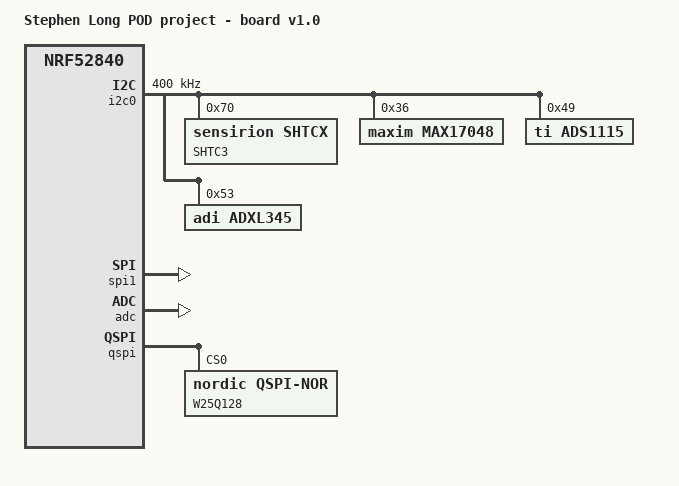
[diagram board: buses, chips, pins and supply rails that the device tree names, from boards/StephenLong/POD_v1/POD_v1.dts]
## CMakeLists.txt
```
# SPDX-License-Identifier: Apache-2.0

cmake_minimum_required(VERSION 3.20.0)

find_package(Zephyr REQUIRED HINTS $ENV{ZEPHYR_BASE})
project(POD_v1.0)
target_include_directories(app PRIVATE src)

# # # Include application application event headers
# # zephyr_library_include_directories(src/events)
# zephyr_syscall_include_directories(${CMAKE_CURRENT_SOURCE_DIR}/include/drivers/ADE9000)
# zephyr_include_directories(${CMAKE_CURRENT_SOURCE_DIR}/drivers)
zephyr_include_directories(${CMAKE_CURRENT_SOURCE_DIR}/include)

# list(APPEND ZEPHYR_EXTRA_MODULES
#   ${CMAKE_CURRENT_SOURCE_DIR}/drivers
# )

FILE(GLOB app_sources src/*.c)
target_sources(app PRIVATE ${app_sources})

add_subdirectory(src/App)
add_subdirectory(src/SHTC6)
add_subdirectory(src/MAX17048)
add_subdirectory(src/ADS1115)
add_subdirectory(src/ADXL345)
add_subdirectory(src/ADE9000)
add_subdirectory(src/AFE3010)
add_subdirectory(src/W25Q128)
# add_subdirectory(libs)

# add_subdirectory(drivers)


# set(DTC_EXTRA_BINDINGS_DIRS ${CMAKE_CURRENT_SOURCE_DIR}/dts/bindings)
# set(DTC_EXTRA_FLAGS "-I${CMAKE_CURRENT_SOURCE_DIR}/dts/bindings")
```

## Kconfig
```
# Copyright (c) 2021 Nordic Semiconductor ASA
# SPDX-License-Identifier: Apache-2.0
#
# This Kconfig file is picked by the Zephyr build system because it is defined
# as the module Kconfig entry point (see zephyr/module.yml). You can browse
# module options by going to Zephyr -> Modules in Kconfig.

menu "Zephyr"
source "Kconfig.zephyr"
endmenu

# rsource "drivers/Kconfig"
```

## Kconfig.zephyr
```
# Copyright (c) 2021 Nordic Semiconductor ASA
# SPDX-License-Identifier: Apache-2.0
#
# This Kconfig file is picked by the Zephyr build system because it is defined
# as the module Kconfig entry point (see zephyr/module.yml). You can browse
# module options by going to Zephyr -> Modules in Kconfig.

menu "Zephyr"
source "Kconfig.zephyr"
endmenu

rsource "drivers/Kconfig"
```

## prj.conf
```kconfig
# Enable logging
CONFIG_LOG=y

# Use SEGGER RTT as the console output
CONFIG_USE_SEGGER_RTT=y
CONFIG_CONSOLE=y
CONFIG_RTT_CONSOLE=y
CONFIG_PRINTK=y
# # Disable UART console to avoid conflict
# CONFIG_UART_CONSOLE=n

# Optional (recommended)
CONFIG_LOG_BACKEND_RTT=y
CONFIG_LOG_BACKEND_RTT_MODE_DROP=n

CONFIG_CBPRINTF_FP_SUPPORT=y

# I2C sensors
CONFIG_I2C=y
CONFIG_GPIO=y
CONFIG_SENSOR=y
CONFIG_SHTCX=y
CONFIG_FUEL_GAUGE=y
CONFIG_ADC=y
CONFIG_ADC_ADS1X1X=y
CONFIG_ADXL345=y
CONFIG_SENSOR_ASYNC_API=y

# SPI sensors
CONFIG_SPI=y
# CONFIG_NRFX_SPIM1=y          # Use SPIM1 for DMA capability
# CONFIG_NRFX_SPIM=y           # Required for nrfx SPI backend (DMA)
# CONFIG_DMA=y                 # Optional but recommended
# CONFIG_ADE9000=y             # driver model not implemented

# QSPI nor-flash
CONFIG_FLASH=y
CONFIG_NORDIC_QSPI_NOR=y
# CONFIG_PM_DEVICE=y
# CONFIG_NORDIC_QSPI_NOR_FLASH_LAYOUT_PAGE_SIZE=4096

CONFIG_SYSTEM_WORKQUEUE_STACK_SIZE=2048

CONFIG_BT_SETTINGS=y
CONFIG_FLASH=y
CONFIG_FLASH_MAP=y
CONFIG_NVS=y
CONFIG_SETTINGS=y
# CONFIG_SECURE_STORAGE=y
CONFIG_HWINFO=y

CONFIG_BT=y
CONFIG_BT_L2CAP_TX_BUF_COUNT=5
CONFIG_BT_PERIPHERAL=y
CONFIG_BT_OBSERVER=y
CONFIG_BT_BROADCASTER=y

CONFIG_BT_CTLR_DUP_FILTER_LEN=0
CONFIG_BT_CTLR_LE_ENC=n
CONFIG_BT_CTLR_LE_PING=n
CONFIG_BT_DATA_LEN_UPDATE=n
CONFIG_BT_PHY_UPDATE=n
CONFIG_BT_CTLR_MIN_USED_CHAN=n
CONFIG_BT_CTLR_PRIVACY=n
CONFIG_BT_CTLR_CHAN_SEL_2=n

CONFIG_BT_MESH=y
CONFIG_BT_MESH_MODEL_EXTENSIONS=y
CONFIG_BT_MESH_RELAY=y
CONFIG_BT_MESH_FRIEND=y
CONFIG_BT_MESH_PB_GATT=y
CONFIG_BT_MESH_PB_ADV=y
CONFIG_BT_MESH_GATT_PROXY=y

CONFIG_BT_MESH_SUBNET_COUNT=2
CONFIG_BT_MESH_APP_KEY_COUNT=2
CONFIG_BT_MESH_MODEL_GROUP_COUNT=2
CONFIG_BT_MESH_LABEL_COUNT=3
```

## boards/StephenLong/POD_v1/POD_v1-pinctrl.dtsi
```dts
&pinctrl {
	i2c0_default: i2c0_default {
		group1 {
			psels = <NRF_PSEL(TWIM_SDA, 0, 26)>, <NRF_PSEL(TWIM_SCL, 0, 27)>;
		};
	};
	spi1_default: spi1_default {
		group1 {
			psels = <NRF_PSEL(SPIM_SCK, 0, 5)>,
					<NRF_PSEL(SPIM_MOSI, 0, 6)>,
					<NRF_PSEL(SPIM_MISO, 0, 7)>;
		};
	};
	qspi_default: qspi_default {
		group1 {
			psels = <NRF_PSEL(QSPI_CSN, 0, 17)>,
					<NRF_PSEL(QSPI_SCK, 0, 19)>,
					<NRF_PSEL(QSPI_IO0, 0, 20)>,
					<NRF_PSEL(QSPI_IO1, 0, 21)>,
					<NRF_PSEL(QSPI_IO2, 0, 22)>,
					<NRF_PSEL(QSPI_IO3, 0, 23)>;
		};
	};
};
```

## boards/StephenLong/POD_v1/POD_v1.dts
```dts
/dts-v1/;
#include <nordic/nrf52840_qiaa.dtsi>
#include "POD_v1-pinctrl.dtsi"

/ {
	model = "Stephen Long POD project - board v1.0";
	compatible = "StephenLong,POD-v1";

	chosen {
		zephyr,sram = &sram0;
		zephyr,flash = &flash0;
		zephyr,code-partition = &slot0_partition;
	};

	// ade9000_cs: ade9000_cs {
    //     compatible = "gpio-controller";
	// 	gpios = <&gpio0 4 GPIO_ACTIVE_LOW>;
	// 	status = "okay";
	// 	gpio-controller;
	// 	#gpio-cells = <1>;
    // };
};

&flash0 {
	partitions {
		compatible = "fixed-partitions";
		#address-cells = <1>;
		#size-cells = <1>;

		boot_partition: partition@0 {
			label = "mcuboot";
			reg = <0x00000000 DT_SIZE_K(48)>;
		};

		slot0_partition: partition@c000 {
			label = "image-0";
			reg = <0x0000c000 DT_SIZE_K(472)>;
		};

		slot1_partition: partition@82000 {
			label = "image-1";
			reg = <0x00082000 DT_SIZE_K(472)>;
		};

		storage_partition: partition@f8000 {
			label = "storage";
			reg = <0x000f8000 DT_SIZE_K(32)>;
		};
	};
};
&usbd {
	status = "disabled";
};

&gpiote {
	status = "okay";
};

&systick {
	status = "disabled";
};

&i2c0 {
	status = "okay";
	compatible = "nordic,nrf-twim";
	pinctrl-0 = <&i2c0_default>;
	pinctrl-names = "default";
	clock-frequency = <I2C_BITRATE_FAST>;
	label = "I2C_0";
	shtc3@70 {
		compatible = "sensirion,shtcx";
		reg = <0x70>;
		measure-mode = "normal";
		clock-stretching;
		label = "SHTC3";
        status = "okay";
	};

	max17048:max17048@36 {
		compatible = "maxim,max17048";
		reg = <0x36>;
		label = "MAX17048";
        status = "okay";
	};

	ads1115:ads1115@49 {
		compatible = "ti,ads1115";
		reg = <0x49>;
		#io-channel-cells = <0x1>;
		label = "ADS1115";
		status = "okay";
		// channel@0 {
		// 	reg = <0>;
		// 	zephyr,gain = "ADC_GAIN_1";
		// 	zephyr,reference = "ADC_REF_INTERNAL";
		// 	zephyr,acquisition-time = <ADC_ACQ_TIME_DEFAULT>;
		// 	zephyr,resolution = < 15 >;
		// };
		// channel@1 {
		// 	reg = <1>;
		// 	zephyr,gain = "ADC_GAIN_1";
		// 	zephyr,reference = "ADC_REF_INTERNAL";
		// 	zephyr,acquisition-time = <ADC_ACQ_TIME_DEFAULT>;
		// 	zephyr,resolution = < 15 >;
		// };
		// channel@2 {
		// 	reg = <2>;
		// 	zephyr,gain = "ADC_GAIN_1";
		// 	zephyr,reference = "ADC_REF_INTERNAL";
		// 	zephyr,acquisition-time = <ADC_ACQ_TIME_DEFAULT>;
		// 	zephyr,resolution = < 15 >;
		// };
		// channel@3 {
		// 	reg = <3>;
		// 	zephyr,gain = "ADC_GAIN_1";
		// 	zephyr,reference = "ADC_REF_INTERNAL";
		// 	zephyr,acquisition-time = <ADC_ACQ_TIME_DEFAULT>;
		// 	zephyr,resolution = < 15 >;
		// };
	};

	adxl345: adxl345@53 {
		compatible = "adi,adxl345";
		reg = <0x53>;
		// int2-gpios = <&gpio1 9 0>;
		// supply-gpios = <&gpio1 11 0>;
	};
};

&spi1 {
	status = "okay";
	compatible = "nordic,nrf-spim";
	pinctrl-0 = <&spi1_default>;
	pinctrl-names = "default";
	// cs-gpios = <&gpio0 4 GPIO_ACTIVE_LOW>;
	// max-frequency = <DT_FREQ_M(20)>;
	// ade9000: ade9000@0 {
    //     // compatible = "adi,ade9000";
    //     reg = <0>;
    //     spi-max-frequency = <DT_FREQ_M(20)>;
	// 	cs-gpios = <&gpio0 4 GPIO_ACTIVE_LOW>;
	// 	status = "okay";
    // };
};


&adc {
	status = "okay";
};

&gpio0 {
	label = "GPIO_0";
	status = "okay";
};

&gpio1 {
	label = "GPIO_1";
	status = "okay";
};

&qspi {
	status = "okay";
	pinctrl-0 = <&qspi_default>;
	pinctrl-names = "default";

	w25q128@0 {
		compatible = "nordic,qspi-nor";
        reg = <0>;
        label = "W25Q128";
        writeoc = "pp4io";
        readoc = "read4io";
		jedec-id = [ef 40 18]; /* Winbond W25Q128JV */
        sck-frequency = <DT_FREQ_M(32)>; /* Up to 32MHz, use safe value for stability */

        /* Required memory configuration */
        size = <0x800000>;   /* 8MB (64Mbit) */
        // address-cells = <1>;
        // erase-block-size = <4096>; /* 4KB sector */
        page-size = <256>;

        /* Power-down options (optional) */
        has-dpd;
        t-enter-dpd = <10000>;
        t-exit-dpd = <35000>;
	};
};

// &qspi {
//     status = "okay";
//     pinctrl-0 = <&qspi_default>;
//     pinctrl-names = "default";

//     qspi_flash: qspi@0 {
//         compatible = "jedec,spi-nor";
//         reg = <0>;
//         label = "W25Q128";
//         jedec-id = [ef 40 18]; /* Winbond W25Q128JV */
//         size = <0x800000>;     /* 8 MB = 64 Mbit = 0x800000 bytes */
//         has-dpd;
//         t-enter-dpd = <10000>;
//         t-exit-dpd = <35000>;
//         // qspi-max-frequency = <8000000>; /* 8 MHz, or up to 32 MHz */
// 		spi-max-frequency = <DT_FREQ_M(32)>;
//     };
// };
```

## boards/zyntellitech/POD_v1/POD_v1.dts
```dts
/dts-v1/;
#include <nordic/nrf52840_qiaa.dtsi>
#include "POD_v1-pinctrl.dtsi"

/ {
	model = "POD project - board v1.0";
	compatible = "zyntellitech,POD-v1";

	chosen {
		zephyr,sram = &sram0;
		zephyr,flash = &flash0;
		zephyr,code-partition = &slot0_partition;
	};

	// ade9000_cs: ade9000_cs {
    //     compatible = "gpio-controller";
	// 	gpios = <&gpio0 4 GPIO_ACTIVE_LOW>;
	// 	status = "okay";
	// 	gpio-controller;
	// 	#gpio-cells = <1>;
    // };
};

&flash0 {
	partitions {
		compatible = "fixed-partitions";
		#address-cells = <1>;
		#size-cells = <1>;

		boot_partition: partition@0 {
			label = "mcuboot";
			reg = <0x00000000 DT_SIZE_K(48)>;
		};

		slot0_partition: partition@c000 {
			label = "image-0";
			reg = <0x0000c000 DT_SIZE_K(472)>;
		};

		slot1_partition: partition@82000 {
			label = "image-1";
			reg = <0x00082000 DT_SIZE_K(472)>;
		};

		storage_partition: partition@f8000 {
			label = "storage";
			reg = <0x000f8000 DT_SIZE_K(32)>;
		};
	};
};
&usbd {
	status = "disabled";
};

&gpiote {
	status = "okay";
};

&systick {
	status = "disabled";
};

&i2c0 {
	status = "okay";
	compatible = "nordic,nrf-twim";
	pinctrl-0 = <&i2c0_default>;
	pinctrl-names = "default";
	clock-frequency = <I2C_BITRATE_FAST>;
	label = "I2C_0";
	shtc3@70 {
		compatible = "sensirion,shtcx";
		reg = <0x70>;
		measure-mode = "normal";
		clock-stretching;
		label = "SHTC3";
        status = "okay";
	};

	max17048:max17048@36 {
		compatible = "maxim,max17048";
		reg = <0x36>;
		label = "MAX17048";
        status = "okay";
	};

	ads1115:ads1115@49 {
		compatible = "ti,ads1115";
		reg = <0x49>;
		#io-channel-cells = <0x1>;
		label = "ADS1115";
		status = "okay";
		// channel@0 {
		// 	reg = <0>;
		// 	zephyr,gain = "ADC_GAIN_1";
		// 	zephyr,reference = "ADC_REF_INTERNAL";
		// 	zephyr,acquisition-time = <ADC_ACQ_TIME_DEFAULT>;
		// 	zephyr,resolution = < 15 >;
		// };
		// channel@1 {
		// 	reg = <1>;
		// 	zephyr,gain = "ADC_GAIN_1";
		// 	zephyr,reference = "ADC_REF_INTERNAL";
		// 	zephyr,acquisition-time = <ADC_ACQ_TIME_DEFAULT>;
		// 	zephyr,resolution = < 15 >;
		// };
		// channel@2 {
		// 	reg = <2>;
		// 	zephyr,gain = "ADC_GAIN_1";
		// 	zephyr,reference = "ADC_REF_INTERNAL";
		// 	zephyr,acquisition-time = <ADC_ACQ_TIME_DEFAULT>;
		// 	zephyr,resolution = < 15 >;
		// };
		// channel@3 {
		// 	reg = <3>;
		// 	zephyr,gain = "ADC_GAIN_1";
		// 	zephyr,reference = "ADC_REF_INTERNAL";
		// 	zephyr,acquisition-time = <ADC_ACQ_TIME_DEFAULT>;
		// 	zephyr,resolution = < 15 >;
		// };
	};

	adxl345: adxl345@53 {
		compatible = "adi,adxl345";
		reg = <0x53>;
		// int2-gpios = <&gpio1 9 0>;
		// supply-gpios = <&gpio1 11 0>;
	};
};

&spi1 {
	status = "okay";
	compatible = "nordic,nrf-spim";
	pinctrl-0 = <&spi1_default>;
	pinctrl-names = "default";
	// cs-gpios = <&gpio0 4 GPIO_ACTIVE_LOW>;
	// max-frequency = <DT_FREQ_M(20)>;
	// ade9000: ade9000@0 {
    //     // compatible = "adi,ade9000";
    //     reg = <0>;
    //     spi-max-frequency = <DT_FREQ_M(20)>;
	// 	cs-gpios = <&gpio0 4 GPIO_ACTIVE_LOW>;
	// 	status = "okay";
    // };
};

&adc {
	status = "okay";
};

&gpio0 {
	label = "GPIO_0";
	status = "okay";
};

&gpio1 {
	label = "GPIO_1";
	status = "okay";
};
```

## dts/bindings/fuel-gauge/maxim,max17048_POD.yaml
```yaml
# Copyright (c) 2023 Alvaro Garcia Gomez <maxpowel@gmail.com>
# SPDX-License-Identifier: Apache-2.0

description: |
  Maxim MAX17048 Fuel Gauge with ModelGauge. See more info at:
  https://www.maximintegrated.com/en/products/power/battery-management/MAX17048.html

compatible: "maxim,max17048_POD"

include: ["maxim,max17048.yaml"]

properties:
  irq-gpios:
    type: phandle-array
    required: false
    description: GPIO line used for interrupt from the fuel gauge chip
```

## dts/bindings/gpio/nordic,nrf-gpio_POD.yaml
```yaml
# Copyright (c) 2018, marc-cpdesign
# SPDX-License-Identifier: Apache-2.0

description: NRF5 GPIO node

compatible: "nordic,nrf-gpio_POD"

include: [gpio-controller.yaml, base.yaml]

properties:
  reg:
    required: true

  gpiote-instance:
    type: phandle
    description: |
      GPIOTE instance that can be used with this GPIO port.

  "#gpio-cells":
    const: 2

  sense-edge-mask:
    type: int
    description: |
      Mask of pins that use the GPIO sense mechanism for edge detection.
      Pins not included in the mask use GPIOTE channels in the event mode.

  port:
    type: int
    required: true
    description: |
      The GPIO port number. GPIO port P0 has:

        port = <0>;

      And P1 has:

        port = <1>;

  interrupt-controller:
    type: boolean
    description: GPIO block also acts as an interrupt controller

  "#interrupt-cells":
    type: int
    const: 2
    description: Number of cells to define an interrupt from this controller


gpio-cells:
  - pin
  - flags
```

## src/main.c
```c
/* main.c - Application main entry point */

/*
 * Copyright (c) 2017 Intel Corporation
 *
 * SPDX-License-Identifier: Apache-2.0
 */

#include <zephyr/sys/printk.h>

#include <zephyr/settings/settings.h>
#include <zephyr/devicetree.h>
#include <zephyr/device.h>
#include <zephyr/drivers/hwinfo.h>
#include <zephyr/drivers/sensor.h>
#include <zephyr/drivers/fuel_gauge.h>
#include <zephyr/drivers/gpio.h>
#include <zephyr/drivers/i2c.h>
#include <zephyr/sys/byteorder.h>

#include <zephyr/bluetooth/bluetooth.h>
#include <zephyr/bluetooth/mesh.h>

#include <defines.h>
#include "App.h"

#define OP_ONOFF_GET       BT_MESH_MODEL_OP_2(0x82, 0x01)
#define OP_ONOFF_SET       BT_MESH_MODEL_OP_2(0x82, 0x02)
#define OP_ONOFF_SET_UNACK BT_MESH_MODEL_OP_2(0x82, 0x03)
#define OP_ONOFF_STATUS    BT_MESH_MODEL_OP_2(0x82, 0x04)


// // static void attention_on(const struct bt_mesh_model *mod)
// // {
// // 	board_led_set(true);
// // }

// // static void attention_off(const struct bt_mesh_model *mod)
// // {
// // 	board_led_set(false);
// // }

// // static const struct bt_mesh_health_srv_cb health_cb = {
// // 	.attn_on = attention_on,
// // 	.attn_off = attention_off,
// // };

// // static struct bt_mesh_health_srv health_srv = {
// // 	.cb = &health_cb,
// // };

// BT_MESH_HEALTH_PUB_DEFINE(health_pub, 0);

// static const char *const onoff_str[] = { "off", "on" };

// static struct {
// 	bool val;
// 	uint8_t tid;
// 	uint16_t src;
// 	uint32_t transition_time;
// 	struct k_work_delayable work;
// } onoff;

// /* OnOff messages' transition time and remaining time fields are encoded as an
//  * 8 bit value with a 6 bit step field and a 2 bit resolution field.
//  * The resolution field maps to:
//  * 0: 100 ms
//  * 1: 1 s
//  * 2: 10 s
//  * 3: 20 min
//  */
// static const uint32_t time_res[] = {
// 	100,
// 	MSEC_PER_SEC,
// 	10 * MSEC_PER_SEC,
// 	10 * 60 * MSEC_PER_SEC,
// };

// static inline int32_t model_time_decode(uint8_t val)
// {
// 	uint8_t resolution = (val >> 6) & BIT_MASK(2);
// 	uint8_t steps = val & BIT_MASK(6);

// 	if (steps == 0x3f) {
// 		return SYS_FOREVER_MS;
// 	}

// 	return steps * time_res[resolution];
// }

// static inline uint8_t model_time_encode(int32_t ms)
// {
// 	if (ms == SYS_FOREVER_MS) {
// 		return 0x3f;
// 	}

// 	for (int i = 0; i < ARRAY_SIZE(time_res); i++) {
// 		if (ms >= BIT_MASK(6) * time_res[i]) {
// 			continue;
// 		}

// 		uint8_t steps = DIV_ROUND_UP(ms, time_res[i]);

// 		return steps | (i << 6);
// 	}

// 	return 0x3f;
// }

// static int onoff_status_send(const struct bt_mesh_model *model,
// 			     struct bt_mesh_msg_ctx *ctx)
// {
// 	uint32_t remaining;

// 	BT_MESH_MODEL_BUF_DEFINE(buf, OP_ONOFF_STATUS, 3);
// 	bt_mesh_model_msg_init(&buf, OP_ONOFF_STATUS);

// 	remaining = k_ticks_to_ms_floor32(
// 			    k_work_delayable_remaining_get(&onoff.work)) +
// 		    onoff.transition_time;

// 	/* Check using remaining time instead of "work pending" to make the
// 	 * onoff status send the right value on instant transitions. As the
// 	 * work item is executed in a lower priority than the mesh message
// 	 * handler, the work will be pending even on instant transitions.
// 	 */
// 	if (remaining) {
// 		net_buf_simple_add_u8(&buf, !onoff.val);
// 		net_buf_simple_add_u8(&buf, onoff.val);
// 		net_buf_simple_add_u8(&buf, model_time_encode(remaining));
// 	} else {
// 		net_buf_simple_add_u8(&buf, onoff.val);
// 	}

// 	return bt_mesh_model_send(model, ctx, &buf, NULL, NULL);
// }

// static void onoff_timeout(struct k_work *work)
// {
// 	if (onoff.transition_time) {
// 		/* Start transition.
// 		 *
// 		 * The LED should be on as long as the transition is in
// 		 * progress, regardless of the target value, according to the
// 		 * Bluetooth Mesh Model specification, section 3.1.1.
// 		 */
// 		board_led_set(true);

// 		k_work_reschedule(&onoff.work, K_MSEC(onoff.transition_time));
// 		onoff.transition_time = 0;
// 		return;
// 	}

// 	board_led_set(onoff.val);
// }

// /* Generic OnOff Server message handlers */

// static int gen_onoff_get(const struct bt_mesh_model *model,
// 			 struct bt_mesh_msg_ctx *ctx,
// 			 struct net_buf_simple *buf)
// {
// 	onoff_status_send(model, ctx);
// 	return 0;
// }

// static int gen_onoff_set_unack(const struct bt_mesh_model *model,
// 			       struct bt_mesh_msg_ctx *ctx,
// 			       struct net_buf_simple *buf)
// {
// 	uint8_t val = net_buf_simple_pull_u8(buf);
// 	uint8_t tid = net_buf_simple_pull_u8(buf);
// 	int32_t trans = 0;
// 	int32_t delay = 0;

// 	if (buf->len) {
// 		trans = model_time_decode(net_buf_simple_pull_u8(buf));
// 		delay = net_buf_simple_pull_u8(buf) * 5;
// 	}

// 	/* Only perform change if the message wasn't a duplicate and the
// 	 * value is different.
// 	 */
// 	if (tid == onoff.tid && ctx->addr == onoff.src) {
// 		/* Duplicate */
// 		return 0;
// 	}

// 	if (val == onoff.val) {
// 		/* No change */
// 		return 0;
// 	}

// 	printk("set: %s delay: %d ms time: %d ms\n", onoff_str[val], delay,
// 	       trans);

// 	onoff.tid = tid;
// 	onoff.src = ctx->addr;
// 	onoff.val = val;
// 	onoff.transition_time = trans;

// 	/* Schedule the next action to happen on the delay, and keep
// 	 * transition time stored, so it can be applied in the timeout.
// 	 */
// 	k_work_reschedule(&onoff.work, K_MSEC(delay));

// 	return 0;
// }

// static int gen_onoff_set(const struct bt_mesh_model *model,
// 			 struct bt_mesh_msg_ctx *ctx,
// 			 struct net_buf_simple *buf)
// {
// 	(void)gen_onoff_set_unack(model, ctx, buf);
// 	onoff_status_send(model, ctx);

// 	return 0;
// }

// static const struct bt_mesh_model_op gen_onoff_srv_op[] = {
// 	{ OP_ONOFF_GET,       BT_MESH_LEN_EXACT(0), gen_onoff_get },
// 	{ OP_ONOFF_SET,       BT_MESH_LEN_MIN(2),   gen_onoff_set },
// 	{ OP_ONOFF_SET_UNACK, BT_MESH_LEN_MIN(2),   gen_onoff_set_unack },
// 	BT_MESH_MODEL_OP_END,
// };

// /* Generic OnOff Client */

// static int gen_onoff_status(const struct bt_mesh_model *model,
// 			    struct bt_mesh_msg_ctx *ctx,
// 			    struct net_buf_simple *buf)
// {
// 	uint8_t present = net_buf_simple_pull_u8(buf);

// 	if (buf->len) {
// 		uint8_t target = net_buf_simple_pull_u8(buf);
// 		int32_t remaining_time =
// 			model_time_decode(net_buf_simple_pull_u8(buf));

// 		printk("OnOff status: %s -> %s: (%d ms)\n", onoff_str[present],
// 		       onoff_str[target], remaining_time);
// 		return 0;
// 	}

// 	printk("OnOff status: %s\n", onoff_str[present]);

// 	return 0;
// }

// static const struct bt_mesh_model_op gen_onoff_cli_op[] = {
// 	{OP_ONOFF_STATUS, BT_MESH_LEN_MIN(1), gen_onoff_status},
// 	BT_MESH_MODEL_OP_END,
// };

// /* This application only needs one element to contain its models */
// static const struct bt_mesh_model models[] = {
// 	BT_MESH_MODEL_CFG_SRV,
// 	// BT_MESH_MODEL_HEALTH_SRV(&health_srv, &health_pub),
// 	BT_MESH_MODEL(BT_MESH_MODEL_ID_GEN_ONOFF_SRV, gen_onoff_srv_op, NULL,
// 		      NULL),
// 	BT_MESH_MODEL(BT_MESH_MODEL_ID_GEN_ONOFF_CLI, gen_onoff_cli_op, NULL,
// 		      NULL),
// };

// static const struct bt_mesh_elem elements[] = {
// 	BT_MESH_ELEM(0, models, BT_MESH_MODEL_NONE),
// };

// static const struct bt_mesh_comp comp = {
// 	.cid = BT_COMP_ID_LF,
// 	.elem = elements,
// 	.elem_count = ARRAY_SIZE(elements),
// };

// /* Provisioning */

// static int output_number(bt_mesh_output_action_t action, uint32_t number)
// {
// 	printk("OOB Number: %u\n", number);

// 	// board_output_number(action, number);

// 	return 0;
// }

// static void prov_complete(uint16_t net_idx, uint16_t addr)
// {
// 	// board_prov_complete();
// }

// static void prov_reset(void)
// {
// 	bt_mesh_prov_enable(BT_MESH_PROV_ADV | BT_MESH_PROV_GATT);
// }

static uint8_t dev_uuid[16];

// static const struct bt_mesh_prov prov = {
// 	.uuid = dev_uuid,
// 	.output_size = 4,
// 	.output_actions = BT_MESH_DISPLAY_NUMBER,
// 	.output_number = output_number,
// 	.complete = prov_complete,
// 	.reset = prov_reset,
// };

// /** Send an OnOff Set message from the Generic OnOff Client to all nodes. */
// static int gen_onoff_send(bool val)
// {
// 	struct bt_mesh_msg_ctx ctx = {
// 		.app_idx = models[3].keys[0], /* Use the bound key */
// 		.addr = BT_MESH_ADDR_ALL_NODES,
// 		.send_ttl = BT_MESH_TTL_DEFAULT,
// 	};
// 	static uint8_t tid;

// 	if (ctx.app_idx == BT_MESH_KEY_UNUSED) {
// 		printk("The Generic OnOff Client must be bound to a key before "
// 		       "sending.\n");
// 		return -ENOENT;
// 	}

// 	BT_MESH_MODEL_BUF_DEFINE(buf, OP_ONOFF_SET_UNACK, 2);
// 	bt_mesh_model_msg_init(&buf, OP_ONOFF_SET_UNACK);
// 	net_buf_simple_add_u8(&buf, val);
// 	net_buf_simple_add_u8(&buf, tid++);

// 	printk("Sending OnOff Set: %s\n", onoff_str[val]);

// 	return bt_mesh_model_send(&models[3], &ctx, &buf, NULL, NULL);
// }

// static void button_pressed(struct k_work *work)
// {
// 	if (bt_mesh_is_provisioned()) {
// 		(void)gen_onoff_send(!onoff.val);
// 		return;
// 	}

// 	/* Self-provision with an arbitrary address.
// 	 *
// 	 * NOTE: This should never be done in a production environment.
// 	 *       Addresses should be assigned by a provisioner, and keys should
// 	 *       be generated from true random numbers. It is done in this
// 	 *       sample to allow testing without a provisioner.
// 	 */
// 	static uint8_t net_key[16];
// 	static uint8_t dev_key[16];
// 	static uint8_t app_key[16];
// 	uint16_t addr;
// 	int err;

// 	if (IS_ENABLED(CONFIG_HWINFO)) {
// 		addr = sys_get_le16(&dev_uuid[0]) & BIT_MASK(15);
// 	} else {
// 		addr = k_uptime_get_32() & BIT_MASK(15);
// 	}

// 	printk("Self-provisioning with address 0x%04x\n", addr);
// 	err = bt_mesh_provision(net_key, 0, 0, 0, addr, dev_key);
// 	if (err) {
// 		printk("Provisioning failed (err: %d)\n", err);
// 		return;
// 	}

// 	/* Add an application key to both Generic OnOff models: */
// 	err = bt_mesh_app_key_add(0, 0, app_key);
// 	if (err) {
// 		printk("App key add failed (err: %d)\n", err);
// 		return;
// 	}

// 	/* Models must be bound to an app key to send and receive messages with
// 	 * it:
// 	 */
// 	models[2].keys[0] = 0;
// 	models[3].keys[0] = 0;

// 	printk("Provisioned and configured!\n");
// }

// static void bt_ready(int err)
// {
// 	if (err) {
// 		printk("Bluetooth init failed (err %d)\n", err);
// 		return;
// 	}

// 	printk("Bluetooth initialized\n");

// 	err = bt_mesh_init(&prov, &comp);
// 	if (err) {
// 		printk("Initializing mesh failed (err %d)\n", err);
// 		return;
// 	}

// 	if (IS_ENABLED(CONFIG_SETTINGS)) {
// 		settings_load();
// 	}

// 	/* This will be a no-op if settings_load() loaded provisioning info */
// 	bt_mesh_prov_enable(BT_MESH_PROV_ADV | BT_MESH_PROV_GATT);

// 	printk("Mesh initialized\n");
// }

void print_array(const uint8_t *arr, size_t len) {
    for (size_t i = 0; i < len; i++) {
        printk("%02X ", arr[i]);
    }
    printk("\n");
}

int main(void)
{
	// static struct k_work button_work;
	int err = -1;

	k_sleep(K_MSEC(5000));

	printk("Initializing...\n");

	if (IS_ENABLED(CONFIG_HWINFO)) {
		err = hwinfo_get_device_id(dev_uuid, sizeof(dev_uuid));
	}

	if (err < 0) {
		dev_uuid[0] = 0xdd;
		dev_uuid[1] = 0xdd;
	}
	printk("Device id is: ");
	print_array(dev_uuid, 16);

	// k_work_init(&button_work, button_pressed);

	// err = board_init(&button_work);
	// if (err) {
	// 	printk("Board init failed (err: %d)\n", err);
	// 	return 0;
	// }

	// k_work_init_delayable(&onoff.work, onoff_timeout);

	// /* Initialize the Bluetooth Subsystem */
	// err = bt_enable(bt_ready);
	// if (err) {
	// 	printk("Bluetooth init failed (err %d)\n", err);
	// }
	
	printk("Initializing complete.\n");

	app_init();

	return 0;
}
```

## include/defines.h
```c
#pragma once

#include <zephyr/logging/log.h>

#define MAX17048_POD_LOG_LEVEL      LOG_LEVEL_DBG
#define ADXL345_POD_LOG_LEVEL       LOG_LEVEL_DBG
#define ADS1115_POD_LOG_LEVEL       LOG_LEVEL_INF
#define SHTC6_POD_LOG_LEVEL         LOG_LEVEL_DBG
#define ADE9000_LOG_LEVEL           LOG_LEVEL_DBG
#define AFE3010_LOG_LEVEL           LOG_LEVEL_DBG
#define APP_LOG_LEVEL               LOG_LEVEL_DBG


#define FUEL_GAUGE_IC_ADDR          0x36
#define FUEL_GUAGE_MIN_THRESH       3.4
#define FUEL_GUAGE_MAX_THRESH       4.4

#define DC_VOLTAGE_RANGE            110     // 0-110V
#define DC_CURRENT_RANGE            50      // 0-50A

// GPIOs
#define GPIO_PORT_0     gpio0//"GPIO_0"
#define GPIO_PORT_1     gpio1//"GPIO_1"

#define FLASH_IC_GPIO_PORT          GPIO_PORT_0
#define FLASH_IC_CS                 17
#define FLASH_IC_CLK                19
#define FLASH_IC_QSPI0              20
#define FLASH_IC_QSPI1              21
#define FLASH_IC_QSPI2              22
#define FLASH_IC_QSPI3              23

#define POWER_METER_IC_GPIO_PORT    GPIO_PORT_0
#define POWER_METER_IC_CS           4
#define POWER_METER_IC_SCK          5
#define POWER_METER_IC_MOSI         6
#define POWER_METER_IC_MISO         7

#define POWER_STATUS_GPIO_PORT      GPIO_PORT_0
#define POWER_STATUS_GPIO           8

#define FUEL_GAUGE_GPIO_PORT        GPIO_PORT_1
#define FUEL_GAUGE_GPIO             8

#define ACCEL_GPIO_PORT             GPIO_PORT_1
#define ACCEL_INT                   9
#define ACCEL_CS                    11

#define GROUND_FAULT_GPIO_PORT      GPIO_PORT_1
#define GROUND_FAULT_ALARM_VA       1
#define GROUND_FAULT_ALARM_VB       2
#define GROUND_FAULT_ALARM_VC       3
#define GROUND_FAULT_PTT_VA         4
#define GROUND_FAULT_PTT_VB         5
#define GROUND_FAULT_PTT_VC         6
#define GROUND_FAULT_SCR_SIG_VA     12
#define GROUND_FAULT_SCR_SIG_VB     13
#define GROUND_FAULT_SCR_SIG_VC     14

enum PHASES_e
{
    PHASE_A,
    PHASE_B,
    PHASE_C,
    PHASE_MAX,
};

static inline float map_value(float val, float in_min, float in_max, float out_min, float out_max) {
    return out_min + ((val - in_min) * (out_max - out_min) / (in_max - in_min));
}
```

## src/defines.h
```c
#pragma once

#include <zephyr/logging/log.h>

#define MAX17048_POD_LOG_LEVEL      4
#define ADXL345_POD_LOG_LEVEL       4
#define ADS1115_POD_LOG_LEVEL       3
#define SHTC6_POD_LOG_LEVEL         4
#define APP_LOG_LEVEL               4


#define FUEL_GAUGE_IC_ADDR 0x36
#define FUEL_GUAGE_MIN_THRESH       3.4
#define FUEL_GUAGE_MAX_THRESH       4.4

#define DC_VOLTAGE_RANGE            110     // 0-110V
#define DC_CURRENT_RANGE            50      // 0-50A

// GPIOs
#define GPIO_PORT_0     gpio0//"GPIO_0"
#define GPIO_PORT_1     gpio1//"GPIO_1"

#define FLASH_IC_GPIO_PORT          GPIO_PORT_0
#define FLASH_IC_CS                 17
#define FLASH_IC_CLK                19
#define FLASH_IC_QSPI0              20
#define FLASH_IC_QSPI1              21
#define FLASH_IC_QSPI2              22
#define FLASH_IC_QSPI3              23

#define POWER_STATUS_GPIO_PORT      GPIO_PORT_0
#define POWER_STATUS_GPIO           8

#define FUEL_GAUGE_GPIO_PORT        GPIO_PORT_1
#define FUEL_GAUGE_GPIO             8

#define ACCEL_GPIO_PORT             GPIO_PORT_1
#define ACCEL_INT                   9
#define ACCEL_CS                    11

#define GROUND_FAULT_GPIO_PORT      GPIO_PORT_1
#define GROUND_FAULT_ALARM_VA       1
#define GROUND_FAULT_ALARM_VB       2
#define GROUND_FAULT_ALARM_VC       3
#define GROUND_FAULT_PTT_VA         4
#define GROUND_FAULT_PTT_VB         5
#define GROUND_FAULT_PTT_VC         6
#define GROUND_FAULT_SCR_SIG_VA     12
#define GROUND_FAULT_SCR_SIG_VB     13
#define GROUND_FAULT_SCR_SIG_VC     14

static inline float map_value(float val, float in_min, float in_max, float out_min, float out_max) {
    return out_min + ((val - in_min) * (out_max - out_min) / (in_max - in_min));
}
```
